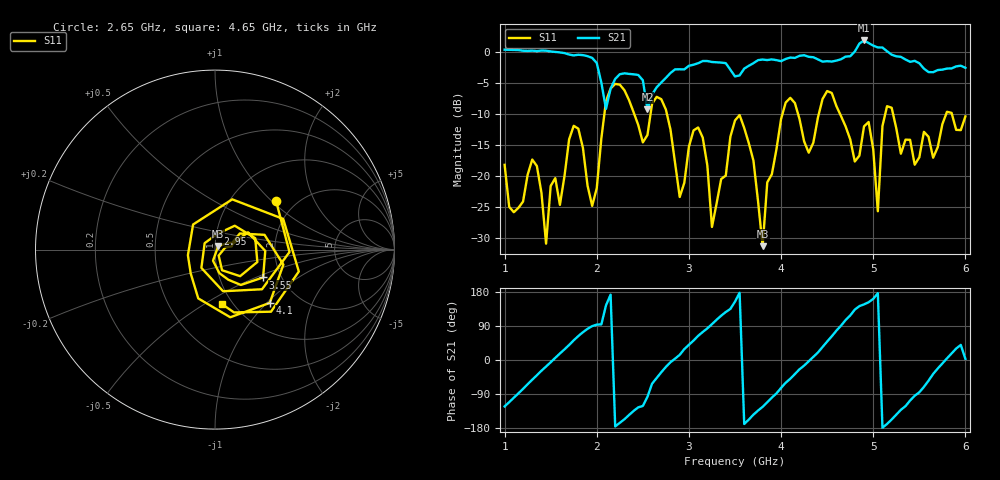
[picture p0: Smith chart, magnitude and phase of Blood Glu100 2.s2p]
! NanoVNA-App
! Date: 2024-03-21 14:00:17
! Start: 1GHz Stop: 6GHz Points: 101
! S-Parameter data: F S11 S21 S12 S22
# Hz S RI R 50
!	Frequency	S11_Real	S11_Imag	S21_Real	S21_Imag	S12_Real	S12_Imag	S22_Real	S22_Imag
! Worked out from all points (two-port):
!   101 points, 1 GHz to 6 GHz, reference 50 ohm
!   highest |S21| = 1.81 dB at 4.9 GHz (marker M1); lowest = -9.3 dB at 2.55 GHz (marker M2)
!   |S21| within 3 dB of the highest: start of sweep to 1.962 GHz; 4.653 GHz to 5.343 GHz (689.7 MHz wide, 13.8 % of centre)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
!   lowest |S11| = -31.3 dB at 3.8 GHz (marker M3), VSWR 1.06, Z = 51.8 + j2.11 ohm
!   |S11| at or under -10 dB: start of sweep to 2.083 GHz; 2.761 GHz to 4.015 GHz (1.255 GHz wide, 37 % of centre); 5.215 GHz to 5.792 GHz (576.6 MHz wide, 10.5 % of centre)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
!   S12 and S22 are empty: the file has one direction only
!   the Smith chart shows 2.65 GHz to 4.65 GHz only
!   S11 on the Smith chart (normalised r, x): 2.65 GHz: 1.60, +1.06; 2.95 GHz: 1.01, +0.18; 3.55 GHz: 1.61, -0.55; 4.1 GHz: 1.43, -1.04; 4.65 GHz: 0.89, -0.59
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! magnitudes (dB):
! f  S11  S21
! 1 GHz  -18.2  0.3
! 1.35 GHz  -18.4  0.1
! 1.45 GHz  -30.9  0.2
! 1.85 GHz  -15.5  -0.5
! 1.95 GHz  -24.8  -1.0
! 2.15 GHz  -5.9  -5.9
! 2.55 GHz  -13.4  -9.3
! 2.65 GHz  -7.3  -5.7
! 2.7 GHz  -7.6  -5.0
! 2.95 GHz  -21.1  -2.8
! 3.1 GHz  -12.2  -1.9
! 3.25 GHz  -28.2  -1.7
! 3.5 GHz  -11.1  -4.0
! 3.55 GHz  -10.2  -3.8
! 3.8 GHz  -31.3  -1.3
! 4.1 GHz  -7.4  -0.9
! 4.35 GHz  -14.6  -0.9
! 4.65 GHz  -10.3  -1.2
! 4.9 GHz  -12.0  1.8
! 5.05 GHz  -25.6  0.7
! 5.2 GHz  -9.0  -0.5
! 6 GHz  -10.4  -2.6
